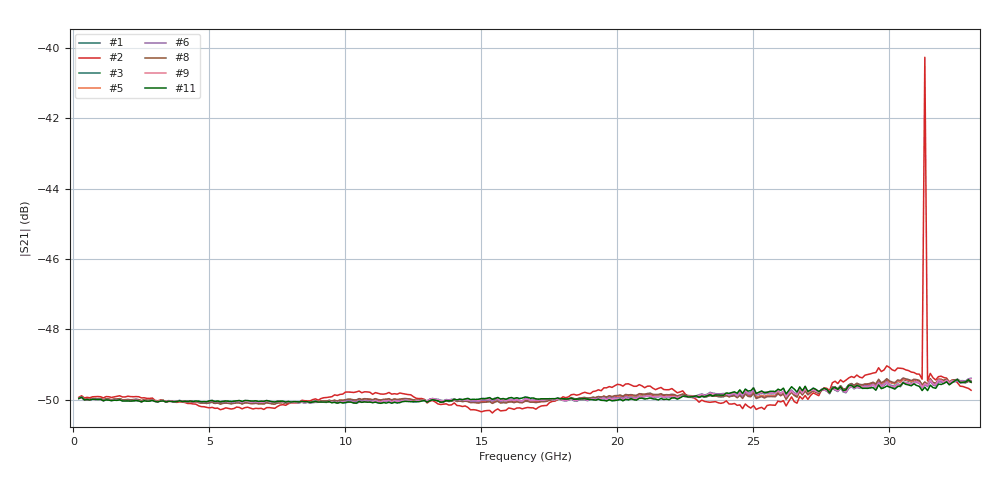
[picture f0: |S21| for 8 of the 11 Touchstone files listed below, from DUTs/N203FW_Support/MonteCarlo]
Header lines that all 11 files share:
# GHZ S RI R 50
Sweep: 200 MHz to 33 GHz
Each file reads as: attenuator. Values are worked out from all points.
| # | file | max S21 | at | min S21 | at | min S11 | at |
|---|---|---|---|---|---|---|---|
| 1 | N203FW_77.s2p | -49.39 dB | 33 GHz | -50.1 dB | 10.4 GHz | -47.6 dB | 2.6 GHz |
| 2 | N203FW_78.s2p | -40.27 dB | 31.3 GHz | -50.4 dB | 15.4 GHz | -51.0 dB | 2.1 GHz |
| 3 | N203FW_82.s2p | -49.42 dB | 30.5 GHz | -50.1 dB | 5.4 GHz | -47.2 dB | 2.3 GHz |
| 4 | N203FW_83.s2p | -49.47 dB | 29.9 GHz | -50.1 dB | 5.4 GHz | -47.1 dB | 2.3 GHz |
| 5 | N203FW_85.s2p | -49.40 dB | 31.5 GHz | -50.1 dB | 7.4 GHz | -46.9 dB | 2.3 GHz |
| 6 | N203FW_87.s2p | -49.46 dB | 32.9 GHz | -50.1 dB | 5.4 GHz | -49.1 dB | 2.3 GHz |
| 7 | N203FW_88.s2p | -49.47 dB | 33 GHz | -50.1 dB | 4.9 GHz | -48.3 dB | 2.3 GHz |
| 8 | N203FW_89.s2p | -49.38 dB | 30.5 GHz | -50.1 dB | 7.4 GHz | -47.3 dB | 2.3 GHz |
| 9 | N203FW_90.s2p | -49.40 dB | 33 GHz | -50.1 dB | 8.5 GHz | -47.2 dB | 2.6 GHz |
| 10 | N203FW_91.s2p | -49.39 dB | 29.9 GHz | -50.1 dB | 5.4 GHz | -47.0 dB | 2.3 GHz |
| 11 | N203FW_94.s2p | -49.42 dB | 32.5 GHz | -50.1 dB | 11.3 GHz | -47.6 dB | 2.4 GHz |
